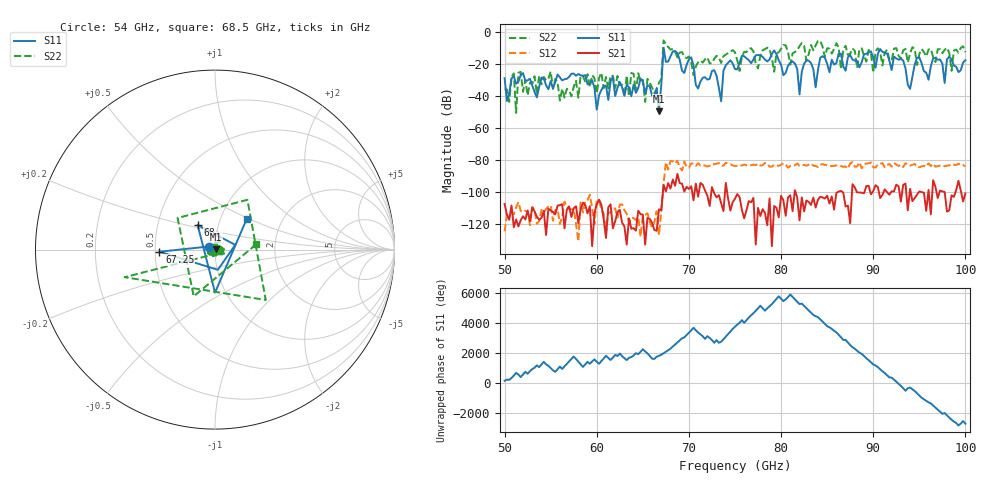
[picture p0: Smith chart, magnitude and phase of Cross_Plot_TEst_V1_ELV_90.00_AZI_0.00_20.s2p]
! 11/25/2026 1:25:24 PM
! C:\ANRITSUVNA\TEMP\TEMP.S2P
! CHANNEL.1
! TR.MEASUREMENT
! RAW.DATA
# HZ S RI R 50.0
! FREQ.HZ  S11RE  S11IM  S21RE  S21IM  S12RE  S12IM  S22RE  S22IM
!; PortSelection: Port_12
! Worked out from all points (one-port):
!   201 points, 50 GHz to 100 GHz, reference 50 ohm
!   lowest |S11| = -49.7 dB at 66.75 GHz (marker M1), VSWR 1.01, Z = 50.3 + j0.0723 ohm
!   |S11| at or under -10 dB: start of sweep to end of sweep
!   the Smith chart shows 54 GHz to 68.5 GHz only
!   S11 on the Smith chart (normalised r, x): 54 GHz: 0.93, +0.03; 67.25 GHz: 0.53, -0.01; 68 GHz: 0.80, +0.22; 68.5 GHz: 1.33, +0.49
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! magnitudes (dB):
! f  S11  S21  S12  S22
! 50 GHz  -29.1  -107.6  -124.7  -35.7
! 51 GHz  -27.9  -122.1  -114.0  -26.1
! 51.25 GHz  -32.6  -117.3  -109.8  -50.8
! 51.5 GHz  -31.2  -121.7  -106.5  -25.7
! 54 GHz  -28.7  -116.3  -111.4  -32.9
! 58.5 GHz  -27.7  -106.8  -112.9  -27.7
! 60 GHz  -48.8  -107.8  -105.5  -38.6
! 61.75 GHz  -28.4  -122.8  -110.5  -27.7
! 66.75 GHz  -49.7  -111.0  -127.0  -31.9
! 67.25 GHz  -10.2  -95.8  -95.2  -5.6
! 68 GHz  -15.5  -98.0  -80.8  -11.3
! 68.5 GHz  -12.1  -96.3  -82.3  -12.6
! 73.5 GHz  -43.5  -107.2  -83.8  -19.7
! 73.75 GHz  -24.4  -112.1  -83.7  -15.4
! 75 GHz  -23.5  -104.4  -83.9  -13.0
! 79.25 GHz  -11.8  -108.8  -83.1  -25.1
! 82 GHz  -39.2  -117.9  -83.8  -9.1
! 83.5 GHz  -23.5  -103.7  -83.7  -11.8
! 91.75 GHz  -18.1  -101.9  -82.7  -17.6
! 94 GHz  -35.8  -98.2  -83.7  -13.7
! 94.75 GHz  -16.5  -101.9  -84.4  -20.9
! 100 GHz  -17.9  -101.1  -84.1  -12.9
